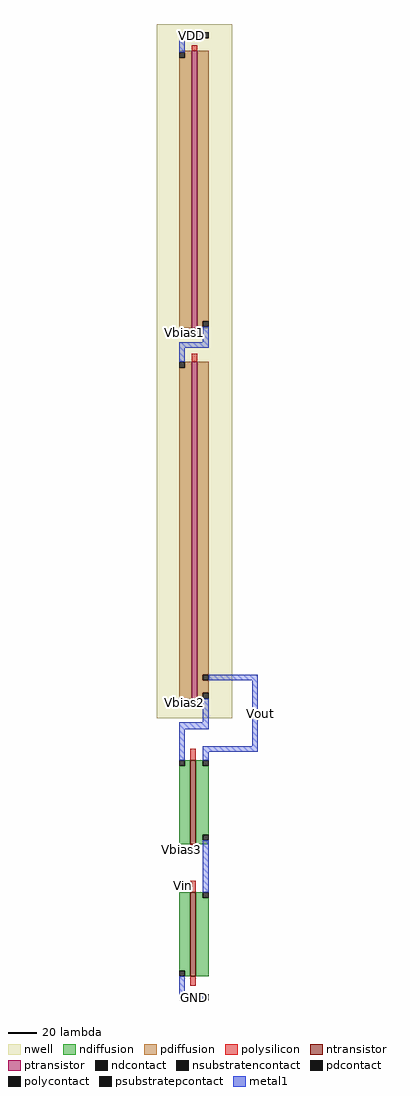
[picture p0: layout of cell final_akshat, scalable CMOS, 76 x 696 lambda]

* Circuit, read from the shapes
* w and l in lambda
.subckt final_akshat GND VDD Vbias1 Vbias2 Vbias3 Vin Vout
M1 Vout Vin GND GND nfet w=60 l=4
M2 Vout Vbias3 Vout GND nfet w=60 l=4
M3 Vout Vbias2 n1 VDD pfet w=240 l=4
M4 n1 Vbias1 VDD VDD pfet w=198 l=4
.ends

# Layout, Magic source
magic
tech scmos
<< nwell >>
rect -22 -278 32 217
<< ntransistor >>
rect 2 -368 6 -308
rect 2 -462 6 -402
<< ptransistor >>
rect 3 0 7 198
rect 3 -264 7 -24
<< ndiffusion >>
rect -2 -312 2 -308
rect -6 -368 2 -312
rect 6 -312 11 -308
rect 6 -361 15 -312
rect 6 -365 11 -361
rect 6 -368 15 -365
rect -6 -458 2 -402
rect -2 -462 2 -458
rect 6 -406 11 -402
rect 6 -462 15 -406
<< pdiffusion >>
rect -6 197 3 198
rect -2 193 3 197
rect -6 0 3 193
rect 7 5 15 198
rect 7 1 11 5
rect 7 0 15 1
rect -2 -28 3 -24
rect -6 -264 3 -28
rect 7 -247 15 -24
rect 7 -251 11 -247
rect 7 -260 15 -251
rect 7 -264 11 -260
<< ndcontact >>
rect -6 -312 -2 -308
rect 11 -312 15 -308
rect 11 -365 15 -361
rect -6 -462 -2 -458
rect 11 -406 15 -402
<< pdcontact >>
rect -6 193 -2 197
rect 11 1 15 5
rect -6 -28 -2 -24
rect 11 -251 15 -247
rect 11 -264 15 -260
<< psubstratepcontact >>
rect -6 -479 -2 -475
rect 11 -479 15 -475
<< nsubstratencontact >>
rect -6 207 -2 211
rect 11 207 15 211
<< polysilicon >>
rect 3 198 7 202
rect 3 -1 7 0
rect 4 -5 7 -1
rect 3 -6 7 -5
rect 3 -24 7 -18
rect 3 -265 7 -264
rect 4 -269 7 -265
rect 3 -270 7 -269
rect 2 -308 6 -300
rect 2 -375 6 -368
rect 2 -395 6 -394
rect 3 -399 6 -395
rect 2 -402 6 -399
rect 2 -469 6 -462
<< polycontact >>
rect 0 -5 4 -1
rect 0 -269 4 -265
rect -2 -374 2 -370
rect -1 -399 3 -395
<< metal1 >>
rect -2 207 11 211
rect -6 197 -2 207
rect -4 -5 0 -1
rect 11 -10 15 1
rect -6 -14 15 -10
rect -6 -24 -2 -14
rect 15 -251 50 -247
rect -4 -269 0 -265
rect 11 -281 15 -264
rect -6 -286 15 -281
rect 46 -273 50 -251
rect 46 -278 54 -273
rect -6 -308 -2 -286
rect 46 -298 50 -278
rect 11 -302 50 -298
rect 11 -308 15 -302
rect -6 -374 -2 -370
rect -5 -399 -1 -395
rect 11 -402 15 -365
rect -6 -475 -2 -462
rect -2 -479 11 -475
<< labels >>
rlabel metal1 52 -275 52 -275 7 Vout
rlabel metal1 -4 -372 -4 -372 1 Vbias3
rlabel metal1 3 209 3 209 1 VDD
rlabel metal1 5 -477 5 -477 1 GND
rlabel metal1 -3 -397 -3 -397 1 Vin
rlabel metal1 -2 -3 -2 -3 1 Vbias1
rlabel metal1 -2 -267 -2 -267 1 Vbias2
<< end >>
